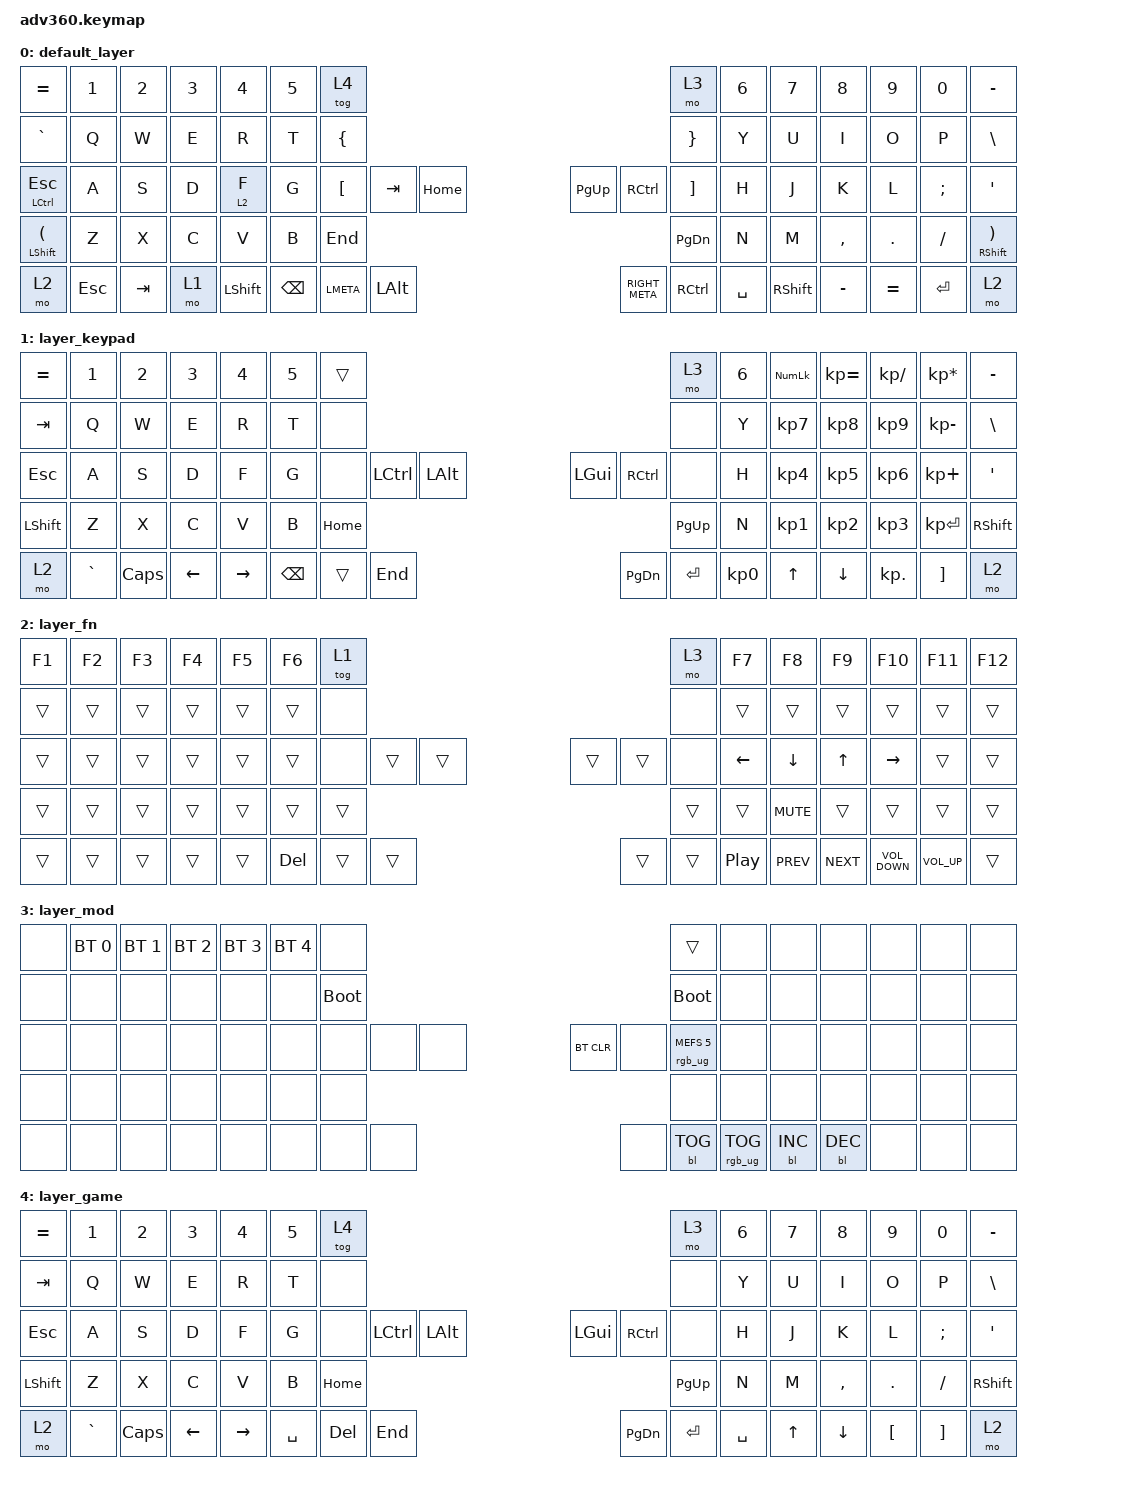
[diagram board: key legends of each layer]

/*
 * Copyright (c) 2020 The ZMK Contributors
 *
 * SPDX-License-Identifier: MIT
 */


/* THIS FILE WAS GENERATED!
 *
 * This file was generated automatically. You may or may not want to
 * edit it directly.
 */

#include <behaviors.dtsi>
#include <dt-bindings/zmk/keys.h>
#include <dt-bindings/zmk/bt.h>
#include <dt-bindings/zmk/rgb.h>
#include <dt-bindings/zmk/backlight.h>

/ {
  behaviors {
    #include "macros.dtsi"

    hm: homerow_mods {
        compatible = "zmk,behavior-hold-tap";
        label = "HOMEROW_MODS";
        #binding-cells = <2>;
        tapping-term-ms = <200>;
        quick_tap_ms = <175>;
        flavor = "tap-preferred";
        bindings = <&kp>, <&kp>;
    };
  };

    keymap {
        compatible = "zmk,keymap";


        default_layer {
            bindings = <
      &kp EQUAL   &kp N1   &kp N2  &kp N3      &kp N4  &kp N5                      &tog 4                                                                                  &mo 3  &kp N6      &kp N7     &kp N8     &kp N9     &kp N0         &kp MINUS
      &kp GRAVE    &kp Q    &kp W   &kp E       &kp R   &kp T              &kp LEFT_BRACE                                                                        &kp RIGHT_BRACE   &kp Y       &kp U      &kp I      &kp O      &kp P          &kp BSLH
  &mt LCTRL ESC    &kp A    &kp S   &kp D     &lt 2 F   &kp G            &kp LEFT_BRACKET    &kp TAB      &kp HOME                     &kp PAGE_UP  &kp RCTRL  &kp RIGHT_BRACKET   &kp H       &kp J      &kp K      &kp L   &kp SEMI  &kp SINGLE_QUOTE
 &mt LSHFT LPAR    &kp Z    &kp X   &kp C       &kp V   &kp B                                              &kp END                   &kp PAGE_DOWN                                 &kp N       &kp M  &kp COMMA    &kp DOT   &kp FSLH    &mt RSHFT RPAR
          &mo 2  &kp ESC  &kp TAB   &mo 1  &kp LSHIFT                       &kp BACKSPACE  &kp LMETA  &kp LEFT_ALT                  &kp RIGHT_META  &kp RCTRL          &kp SPACE          &kp RSHIFT  &kp MINUS  &kp EQUAL  &kp ENTER             &mo 2
            >;
        };

        layer_keypad {
            bindings = <
 &kp EQUAL     &kp N1    &kp N2    &kp N3     &kp N4  &kp N5              &trans                                                                 &mo 3  &kp N6  &kp KP_NUM  &kp KP_EQUAL  &kp KP_DIVIDE  &kp KP_MULTIPLY  &kp MINUS
   &kp TAB      &kp Q     &kp W     &kp E      &kp R   &kp T               &none                                                                 &none   &kp Y   &kp KP_N7     &kp KP_N8      &kp KP_N9     &kp KP_MINUS   &kp BSLH
   &kp ESC      &kp A     &kp S     &kp D      &kp F   &kp G               &none  &kp LCTRL  &kp LALT                   &kp LGUI  &kp RCTRL      &none   &kp H   &kp KP_N4     &kp KP_N5      &kp KP_N6      &kp KP_PLUS    &kp SQT
 &kp LSHFT      &kp Z     &kp X     &kp C      &kp V   &kp B                                 &kp HOME                  &kp PG_UP                         &kp N   &kp KP_N1     &kp KP_N2      &kp KP_N3     &kp KP_ENTER  &kp RSHFT
     &mo 2  &kp GRAVE  &kp CAPS  &kp LEFT  &kp RIGHT                    &kp BSPC     &trans   &kp END                  &kp PG_DN  &kp ENTER  &kp KP_N0              &kp UP      &kp DOWN     &kp KP_DOT         &kp RBKT      &mo 2
            >;
        };

        layer_fn {
            bindings = <
 &kp F1  &kp F2  &kp F3  &kp F4  &kp F5  &kp F6                &tog 1                                                             &mo 3    &kp F7      &kp F8      &kp F9            &kp F10       &kp F11  &kp F12
 &trans  &trans  &trans  &trans  &trans  &trans                 &none                                                             &none    &trans      &trans      &trans             &trans        &trans   &trans
 &trans  &trans  &trans  &trans  &trans  &trans                 &none  &trans  &trans                  &trans  &trans             &none  &kp LEFT    &kp DOWN      &kp UP          &kp RIGHT        &trans   &trans
 &trans  &trans  &trans  &trans  &trans  &trans                                &trans                  &trans                              &trans  &kp C_MUTE      &trans             &trans        &trans   &trans
 &trans  &trans  &trans  &trans  &trans                    &kp DELETE  &trans  &trans                  &trans  &trans  &kp C_PLAY_PAUSE            &kp C_PREV  &kp C_NEXT  &kp C_VOLUME_DOWN  &kp C_VOL_UP   &trans
            >;
        };

        layer_mod {
            bindings = <
  &none  &bt BT_SEL 0  &bt BT_SEL 1  &bt BT_SEL 2  &bt BT_SEL 3  &bt BT_SEL 4                  &none                                                                          &trans   &none       &none       &none   &none   &none   &none
  &none         &none         &none         &none         &none         &none            &bootloader                                                                     &bootloader   &none       &none       &none   &none   &none   &none
  &none         &none         &none         &none         &none         &none                  &none   &none   &none                  &bt BT_CLR       &none  &rgb_ug RGB_MEFS_CMD 5   &none       &none       &none   &none   &none   &none
  &none         &none         &none         &none         &none         &none                                  &none                       &none                                       &none       &none       &none   &none   &none   &none
  &none         &none         &none         &none         &none                                &none   &none   &none                       &none  &bl BL_TOG         &rgb_ug RGB_TOG          &bl BL_INC  &bl BL_DEC   &none   &none   &none
            >;
        };

        layer_game {
            bindings = <
 &kp EQUAL     &kp N1    &kp N2    &kp N3     &kp N4  &kp N5               &tog 4                                                                 &mo 3  &kp N6  &kp N7     &kp N8    &kp N9    &kp N0  &kp MINUS
   &kp TAB      &kp Q     &kp W     &kp E      &kp R   &kp T                &none                                                                 &none   &kp Y   &kp U      &kp I     &kp O     &kp P   &kp BSLH
   &kp ESC      &kp A     &kp S     &kp D      &kp F   &kp G                &none  &kp LCTRL  &kp LALT                   &kp LGUI  &kp RCTRL      &none   &kp H   &kp J      &kp K     &kp L  &kp SEMI    &kp SQT
 &kp LSHFT      &kp Z     &kp X     &kp C      &kp V   &kp B                                  &kp HOME                  &kp PG_UP                         &kp N   &kp M  &kp COMMA   &kp DOT  &kp FSLH  &kp RSHFT
     &mo 2  &kp GRAVE  &kp CAPS  &kp LEFT  &kp RIGHT                    &kp SPACE    &kp DEL   &kp END                  &kp PG_DN  &kp ENTER  &kp SPACE          &kp UP   &kp DOWN  &kp LBKT  &kp RBKT      &mo 2
            >;
        };

    };
};
